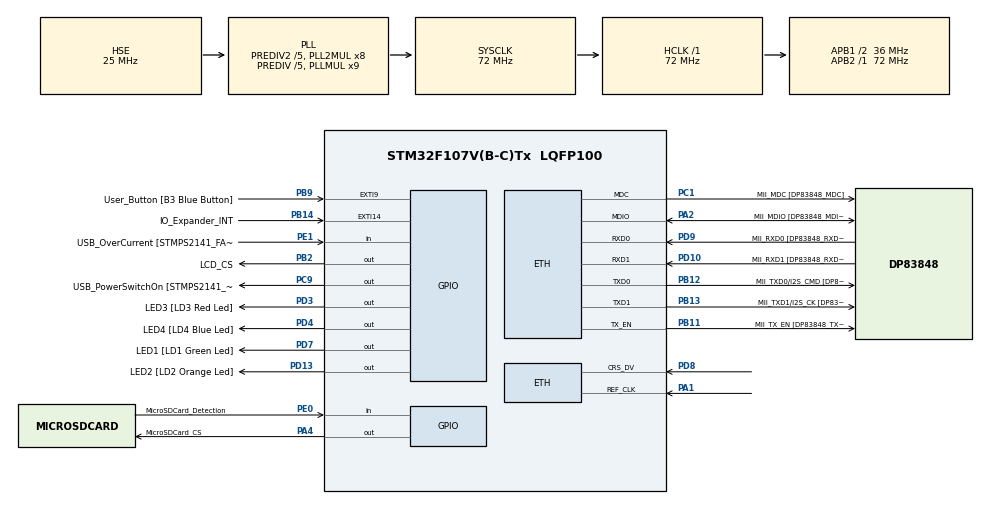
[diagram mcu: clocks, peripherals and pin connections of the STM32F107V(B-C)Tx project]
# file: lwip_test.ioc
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ETH.MediaInterface=ETH_MEDIA_INTERFACE_RMII
LWIP.IP_ADDRESS=192.168.000.077
LWIP.LWIP_DHCP=0
LWIP.NETMASK_ADDRESS=255.255.255.000
Mcu.Family=STM32F1
Mcu.Name=STM32F107V(B-C)Tx
Mcu.Package=LQFP100
NVIC.PriorityGroup=NVIC_PRIORITYGROUP_4
OSC_IN.GPIO_Label=OSC_IN
OSC_IN.Mode=HSE-External-Oscillator
OSC_IN.Signal=RCC_OSC_IN
OSC_OUT.GPIO_Label=OSC_OUT
OSC_OUT.Mode=HSE-External-Oscillator
OSC_OUT.Signal=RCC_OSC_OUT
PA0-WKUP.GPIO_Label=MII_CRS [DP83848_CRS]
PA0-WKUP.GPIO_Mode=GPIO_MODE_AF_PP
PA0-WKUP.GPIO_PuPd=GPIO_NOPULL
PA0-WKUP.GPIO_Speed=GPIO_SPEED_LOW
PA0-WKUP.Signal=ETH_CRS
PA1.Mode=RMII
PA1.Signal=ETH_REF_CLK
PA10.GPIO_Label=USB_ID
PA10.GPIO_Mode=GPIO_MODE_INPUT
PA10.GPIO_PuPd=GPIO_NOPULL
PA10.Signal=USB_OTG_FS_ID
PA11.GPIO_Label=USB_DM
PA11.Signal=USB_OTG_FS_DM
PA12.GPIO_Label=USB_DP
PA12.Signal=USB_OTG_FS_DP
PA13.GPIO_Label=TMS/SWDIO
PA13.Mode=Trace_Synchro_4bits_JTAG
PA13.Signal=SYS_JTMS-SWDIO
PA14.GPIO_Label=TCK/SWCLK
PA14.Mode=Trace_Synchro_4bits_JTAG
PA14.Signal=SYS_JTCK-SWCLK
PA15.GPIO_Label=TDI
PA15.Mode=Trace_Synchro_4bits_JTAG
PA15.Signal=SYS_JTDI
PA2.GPIO_Label=MII_MDIO [DP83848_MDIO]
PA2.GPIO_Mode=GPIO_MODE_AF_PP
PA2.GPIO_PuPd=GPIO_NOPULL
PA2.GPIO_Speed=GPIO_SPEED_LOW
PA2.Mode=RMII
PA2.Signal=ETH_MDIO
PA3.GPIO_Label=MII_COL [DP83848_COL]
PA3.GPIO_Mode=GPIO_MODE_AF_PP
PA3.GPIO_PuPd=GPIO_NOPULL
PA3.GPIO_Speed=GPIO_SPEED_LOW
PA3.Signal=ETH_COL
PA4.GPIO_Label=MicroSDCard_CS
PA4.GPIO_ModeDefaultOutputPP=GPIO_MODE_OUTPUT_PP
PA4.GPIO_PuPd=GPIO_NOPULL
PA4.GPIO_Speed=GPIO_SPEED_LOW
PA4.Signal=GPIO_Output
PA6.GPIO_Label=IDD_Measurement
PA6.GPIO_Mode=GPIO_MODE_ANALOG
PA6.GPIO_PuPd=GPIO_NOPULL
PA6.Signal=ADCx_IN6
PA8.GPIO_Label=MCO [DP83848_X1]
PA8.GPIO_Mode=GPIO_MODE_AF_PP
PA8.GPIO_PuPd=GPIO_NOPULL
PA8.GPIO_Speed=GPIO_SPEED_LOW
PA8.Signal=RCC_MCO
PA9.GPIO_Label=USB_VBUS
PA9.GPIO_Mode=GPIO_MODE_INPUT
PA9.GPIO_PuPd=GPIO_NOPULL
PA9.Signal=USB_OTG_FS_VBUS
PB10.GPIO_Label=MII_RX_ER [DP83848_RX_ER]
PB10.GPIO_Mode=GPIO_MODE_AF_PP
PB10.GPIO_PuPd=GPIO_NOPULL
PB10.GPIO_Speed=GPIO_SPEED_LOW
PB10.Signal=ETH_RX_ER
PB11.GPIO_Label=MII_TX_EN [DP83848_TX_EN]
PB11.GPIO_Mode=GPIO_MODE_AF_PP
PB11.GPIO_PuPd=GPIO_NOPULL
PB11.GPIO_Speed=GPIO_SPEED_LOW
PB11.Mode=RMII
PB11.Signal=ETH_TX_EN
PB12.GPIO_Label=MII_TXD0/I2S_CMD [DP83848_TXD_0/CS43L22_LRCK]
PB12.GPIO_Mode=GPIO_MODE_AF_PP
PB12.GPIO_PuPd=GPIO_NOPULL
PB12.GPIO_Speed=GPIO_SPEED_LOW
PB12.Mode=RMII
PB12.Signal=ETH_TXD0
PB13.GPIO_Label=MII_TXD1/I2S_CK [DP83848_TXD_1/CS43L22_SCLK]
PB13.GPIO_Mode=GPIO_MODE_AF_PP
PB13.GPIO_PuPd=GPIO_NOPULL
PB13.GPIO_Speed=GPIO_SPEED_LOW
PB13.Mode=RMII
PB13.Signal=ETH_TXD1
PB14.GPIO_Label=IO_Expander_INT
PB14.GPIO_ModeDefaultEXTI=GPIO_MODE_EVT_RISING
PB14.GPIO_PuPd=GPIO_PULLUP
PB14.Signal=GPXTI14
PB15.GPIO_Label=I2S_DIN [CS43L22_SDIN]
PB15.GPIO_Mode=GPIO_MODE_AF_PP
PB15.GPIO_PuPd=GPIO_NOPULL
PB15.GPIO_Speed=GPIO_SPEED_LOW
PB15.Signal=I2S2_SD
PB2.GPIO_Label=LCD_CS
PB2.GPIO_ModeDefaultOutputPP=GPIO_MODE_OUTPUT_PP
PB2.GPIO_PuPd=GPIO_NOPULL
PB2.GPIO_Speed=GPIO_SPEED_LOW
PB2.Signal=GPIO_Output
PB3.GPIO_Label=TDO
PB3.Mode=Trace_Synchro_4bits_JTAG
PB3.Signal=SYS_JTDO
PB6.GPIO_Label=I2C1_SCK [STMPE811_SCLK]
PB6.GPIO_Mode=GPIO_MODE_AF_OD
PB6.GPIO_PuPdOD=GPIO_PULLUP
PB6.GPIO_Speed=GPIO_SPEED_LOW
PB6.Signal=I2C1_SCL
PB7.GPIO_Label=I2C1_SDA [STMPE811_SDA]
PB7.GPIO_Mode=GPIO_MODE_AF_OD
PB7.GPIO_PuPdOD=GPIO_PULLUP
PB7.GPIO_Speed=GPIO_SPEED_LOW
PB7.Signal=I2C1_SDA
PB8.GPIO_Label=MII_TXD3 [DP83848_TXD_3]
PB8.GPIO_Mode=GPIO_MODE_AF_PP
PB8.GPIO_PuPd=GPIO_NOPULL
PB8.GPIO_Speed=GPIO_SPEED_LOW
PB8.Signal=ETH_TXD3
PB9.GPIO_Label=User_Button [B3 Blue Button]
PB9.GPIO_ModeDefaultEXTI=GPIO_MODE_EVT_RISING
PB9.GPIO_PuPd=GPIO_NOPULL
PB9.Signal=GPXTI9
PC1.GPIO_Label=MII_MDC [DP83848_MDC]
PC1.GPIO_Mode=GPIO_MODE_AF_PP
PC1.GPIO_PuPd=GPIO_NOPULL
PC1.GPIO_Speed=GPIO_SPEED_LOW
PC1.Mode=RMII
PC1.Signal=ETH_MDC
PC10.GPIO_Label=SPI3_SCK [LCD_SCL]
PC10.GPIO_Mode=GPIO_MODE_AF_PP
PC10.GPIO_PuPd=GPIO_NOPULL
PC10.GPIO_Speed=GPIO_SPEED_LOW
PC10.Signal=SPI3_SCK
PC11.GPIO_Label=SPI3_MISO [LCD_SDO]
PC11.GPIO_Mode=GPIO_MODE_INPUT
PC11.GPIO_PuPd=GPIO_NOPULL
PC11.Signal=SPI3_MISO
PC12.GPIO_Label=SPI3_MOSI [LCD_SDI]
PC12.GPIO_Mode=GPIO_MODE_AF_PP
PC12.GPIO_PuPd=GPIO_NOPULL
PC12.GPIO_Speed=GPIO_SPEED_LOW
PC12.Signal=SPI3_MOSI
PC13-TAMPER-RTC.GPIO_Label=Anti_Tamper [B4 Blue Button]
PC13-TAMPER-RTC.Signal=RTC_TAMPER
PC14-OSC32_IN.GPIO_Label=PC14-OSC32_IN
PC14-OSC32_IN.Mode=LSE-External-Oscillator
PC14-OSC32_IN.Signal=RCC_OSC32_IN
PC15-OSC32_OUT.GPIO_Label=PC15-OSC32_OUT
PC15-OSC32_OUT.Mode=LSE-External-Oscillator
PC15-OSC32_OUT.Signal=RCC_OSC32_OUT
PC2.GPIO_Label=MII_TXD2 [DP83848_TXD_2]
PC2.GPIO_Mode=GPIO_MODE_AF_PP
PC2.GPIO_PuPd=GPIO_NOPULL
PC2.GPIO_Speed=GPIO_SPEED_LOW
PC2.Signal=ETH_TXD2
PC3.GPIO_Label=MII_TX_CLK [DP83848_TX_CLK]
PC3.GPIO_Mode=GPIO_MODE_AF_PP
PC3.GPIO_PuPd=GPIO_NOPULL
PC3.GPIO_Speed=GPIO_SPEED_LOW
PC3.Signal=ETH_TX_CLK
PC4.GPIO_Label=Potentiometer [RV1]
PC4.GPIO_Mode=GPIO_MODE_ANALOG
PC4.GPIO_PuPd=GPIO_NOPULL
PC4.Signal=ADCx_IN14
PC5.GPIO_Label=VBAT_Voltage_OUT
PC5.GPIO_Mode=GPIO_MODE_ANALOG
PC5.GPIO_PuPd=GPIO_NOPULL
PC5.Signal=ADCx_IN15
PC6.GPIO_Label=I2S_MCK [CS43L22_MCLK]
PC6.GPIO_Mode=GPIO_MODE_AF_PP
PC6.GPIO_PuPd=GPIO_NOPULL
PC6.GPIO_Speed=GPIO_SPEED_LOW
PC6.Signal=I2S2_MCK
PC9.GPIO_Label=USB_PowerSwitchOn [STMPS2141_EN]
PC9.GPIO_ModeDefaultOutputPP=GPIO_MODE_OUTPUT_PP
PC9.GPIO_PuPd=GPIO_NOPULL
PC9.GPIO_Speed=GPIO_SPEED_LOW
PC9.Signal=GPIO_Output
PD0.GPIO_Label=CAN1_RX [SN65HVD230_R]
PD0.GPIO_Mode=GPIO_MODE_AF_PP
PD0.GPIO_PuPd=GPIO_NOPULL
PD0.GPIO_Speed=GPIO_SPEED_LOW
PD0.Signal=CAN1_RX
PD1.GPIO_Label=CAN1_TX [SN65HVD230_D]
PD1.GPIO_Mode=GPIO_MODE_AF_PP
PD1.GPIO_PuPd=GPIO_NOPULL
PD1.GPIO_Speed=GPIO_SPEED_LOW
PD1.Signal=CAN1_TX
PD10.GPIO_Label=MII_RXD1 [DP83848_RXD_1]
PD10.GPIO_Mode=GPIO_MODE_AF_PP
PD10.GPIO_PuPd=GPIO_NOPULL
PD10.GPIO_Speed=GPIO_SPEED_LOW
PD10.Mode=RMII
PD10.Signal=ETH_RXD1
PD11.GPIO_Label=MII_RXD2 [DP83848_RXD_2]
PD11.GPIO_Mode=GPIO_MODE_AF_PP
PD11.GPIO_PuPd=GPIO_NOPULL
PD11.GPIO_Speed=GPIO_SPEED_LOW
PD11.Signal=ETH_RXD2
PD12.GPIO_Label=MII_RXD3 [DP83848_RXD_3]
PD12.GPIO_Mode=GPIO_MODE_AF_PP
PD12.GPIO_PuPd=GPIO_NOPULL
PD12.GPIO_Speed=GPIO_SPEED_LOW
PD12.Signal=ETH_RXD3
PD13.GPIO_Label=LED2 [LD2 Orange Led]
PD13.GPIO_ModeDefaultOutputPP=GPIO_MODE_OUTPUT_PP
PD13.GPIO_PuPd=GPIO_NOPULL
PD13.GPIO_Speed=GPIO_SPEED_LOW
PD13.Signal=GPIO_Output
PD3.GPIO_Label=LED3 [LD3 Red Led]
PD3.GPIO_ModeDefaultOutputPP=GPIO_MODE_OUTPUT_PP
PD3.GPIO_PuPd=GPIO_NOPULL
PD3.GPIO_Speed=GPIO_SPEED_LOW
PD3.Signal=GPIO_Output
PD4.GPIO_Label=LED4 [LD4 Blue Led]
PD4.GPIO_ModeDefaultOutputPP=GPIO_MODE_OUTPUT_PP
PD4.GPIO_PuPd=GPIO_NOPULL
PD4.GPIO_Speed=GPIO_SPEED_LOW
PD4.Signal=GPIO_Output
PD5.GPIO_Label=USART2_TX [ST3241E_T2IN]
PD5.GPIO_Mode=GPIO_MODE_AF_PP
PD5.GPIO_PuPd=GPIO_PULLUP
PD5.GPIO_Speed=GPIO_SPEED_LOW
PD5.Signal=USART2_TX
PD6.GPIO_Label=USART2_RX [ST3241EB_R3OUT]
PD6.GPIO_Mode=GPIO_MODE_AF_PP
PD6.GPIO_PuPd=GPIO_PULLUP
PD6.GPIO_Speed=GPIO_SPEED_LOW
PD6.Signal=USART2_RX
PD7.GPIO_Label=LED1 [LD1 Green Led]
PD7.GPIO_ModeDefaultOutputPP=GPIO_MODE_OUTPUT_PP
PD7.GPIO_PuPd=GPIO_NOPULL
PD7.GPIO_Speed=GPIO_SPEED_LOW
PD7.Signal=GPIO_Output
PD8.Mode=RMII
PD8.Signal=ETH_CRS_DV
PD9.GPIO_Label=MII_RXD0 [DP83848_RXD_0]
PD9.GPIO_Mode=GPIO_MODE_AF_PP
PD9.GPIO_PuPd=GPIO_NOPULL
PD9.GPIO_Speed=GPIO_SPEED_LOW
PD9.Mode=RMII
PD9.Signal=ETH_RXD0
PE0.GPIO_Label=MicroSDCard_Detection
PE0.GPIO_Mode=GPIO_MODE_INPUT
PE0.GPIO_PuPd=GPIO_PULLUP
PE0.Signal=GPIO_Input
PE1.GPIO_Label=USB_OverCurrent [STMPS2141_FAULT]
PE1.GPIO_Mode=GPIO_MODE_INPUT
PE1.GPIO_PuPd=GPIO_NOPULL
PE1.Signal=GPIO_Input
PE2.GPIO_Label=TRACE_CK
PE2.Mode=Trace_Synchro_4bits_JTAG
PE2.Signal=SYS_TRACECLK
PE3.GPIO_Label=TRACE_D0
PE3.Mode=Trace_Synchro_4bits_JTAG
PE3.Signal=SYS_TRACED0
PE4.GPIO_Label=TRACE_D1
PE4.Mode=Trace_Synchro_4bits_JTAG
PE4.Signal=SYS_TRACED1
PE5.GPIO_Label=TRACE_D2
PE5.Mode=Trace_Synchro_4bits_JTAG
PE5.Signal=SYS_TRACED2
PE6.GPIO_Label=TRACE_D3
PE6.Mode=Trace_Synchro_4bits_JTAG
PE6.Signal=SYS_TRACED3
ProjectManager.TargetToolchain=SW4STM32
RCC.ADCPresc=RCC_ADCPCLK2_DIV6
RCC.AHBFreq_Value=72000000
RCC.APB1CLKDivider=RCC_HCLK_DIV2
RCC.APB1Freq_Value=36000000
RCC.APB1TimFreq_Value=72000000
RCC.APB2Freq_Value=72000000
RCC.APB2TimFreq_Value=72000000
RCC.HCLKFreq_Value=72000000
RCC.HSEDivPLL=RCC_HSE_PREDIV_DIV5
RCC.HSE_VALUE=25000000
RCC.HSIState=RCC_HSI_ON
RCC.PLLMUL=RCC_PLL_MUL9
RCC.PLLSourceVirtual=RCC_PLLSOURCE_HSE
RCC.Prediv1Source=RCC_PREDIV1_SOURCE_PLL2
RCC.Prediv2=RCC_HSE_PREDIV2_DIV5
RCC.RCC_MCOSource=RCC_MCO1SOURCE_HSE
RCC.RTCClockSelection=RCC_RTCCLKSOURCE_LSE
RCC.SYSCLKFreq_VALUE=72000000
RCC.SYSCLKSource=RCC_SYSCLKSOURCE_PLLCLK
RCC.USBFreq_Value=48000000
SH.ADCx_IN14.0=ADC1_IN14
SH.ADCx_IN15.0=ADC1_IN15
SH.ADCx_IN6.0=ADC1_IN6
VP_LWIP_VS_Enabled.Mode=Enabled
board=STM3210C-EVAL

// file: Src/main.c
/**
  ******************************************************************************
  * File Name          : main.c
  * Description        : Main program body
  ******************************************************************************
  *
  * COPYRIGHT(c) 2015 STMicroelectronics
  *
  * Redistribution and use in source and binary forms, with or without modification,
  * are permitted provided that the following conditions are met:
  *   1. Redistributions of source code must retain the above copyright notice,
  *      this list of conditions and the following disclaimer.
  *   2. Redistributions in binary form must reproduce the above copyright notice,
  *      this list of conditions and the following disclaimer in the documentation
  *      and/or other materials provided with the distribution.
  *   3. Neither the name of STMicroelectronics nor the names of its contributors
  *      may be used to endorse or promote products derived from this software
  *      without specific prior written permission.
  *
  * THIS SOFTWARE IS PROVIDED BY THE COPYRIGHT HOLDERS AND CONTRIBUTORS "AS IS"
  * AND ANY EXPRESS OR IMPLIED WARRANTIES, INCLUDING, BUT NOT LIMITED TO, THE
  * IMPLIED WARRANTIES OF MERCHANTABILITY AND FITNESS FOR A PARTICULAR PURPOSE ARE
  * DISCLAIMED. IN NO EVENT SHALL THE COPYRIGHT HOLDER OR CONTRIBUTORS BE LIABLE
  * FOR ANY DIRECT, INDIRECT, INCIDENTAL, SPECIAL, EXEMPLARY, OR CONSEQUENTIAL
  * DAMAGES (INCLUDING, BUT NOT LIMITED TO, PROCUREMENT OF SUBSTITUTE GOODS OR
  * SERVICES; LOSS OF USE, DATA, OR PROFITS; OR BUSINESS INTERRUPTION) HOWEVER
  * CAUSED AND ON ANY THEORY OF LIABILITY, WHETHER IN CONTRACT, STRICT LIABILITY,
  * OR TORT (INCLUDING NEGLIGENCE OR OTHERWISE) ARISING IN ANY WAY OUT OF THE USE
  * OF THIS SOFTWARE, EVEN IF ADVISED OF THE POSSIBILITY OF SUCH DAMAGE.
  *
  ******************************************************************************
  */
#include "stm32f1xx_hal.h"
#include "lwip.h"

/* USER CODE BEGIN Includes */
#include "udp.h"
#include "3dunit/mavlink.h"
/* USER CODE END Includes */

/* USER CODE BEGIN PV */
/* Private variables ---------------------------------------------------------*/

/* USER CODE END PV */

void SystemClock_Config(void);
static void MX_GPIO_Init(void);

/* USER CODE BEGIN PFP */
/* Private function prototypes -----------------------------------------------*/

/* USER CODE END PFP */

/* USER CODE BEGIN 0 */

extern uint8_t bSendUDP;
extern uint8_t bLEDBreathing;
extern uint64_t iMilisecs;
uint8_t mavlink_systemID = 1;
uint16_t mavlink_port = 14550;
uint8_t mavlink_getParams = 0x00;
struct ip_addr destAddr;
struct udp_pcb* my_udp_pcb;
void udp_receive_callback(void *arg, struct udp_pcb *upcb, struct pbuf *p, struct ip_addr *addr, u16_t port);

void send_udp_simple(uint8_t *payload, uint16_t length)
{
	struct pbuf *p = pbuf_alloc(PBUF_TRANSPORT, length, PBUF_RAM);
    memcpy(p->payload, payload, length);
    udp_sendto(my_udp_pcb, p, &destAddr, mavlink_port);
	pbuf_free(p);
}

/* USER CODE END 0 */

int main(void)
{

  /* MCU Configuration----------------------------------------------------------*/

  /* Reset of all peripherals, Initializes the Flash interface and the Systick. */
  HAL_Init();

  /* Configure the system clock */
  SystemClock_Config();

  /* Initialize all configured peripherals */
  MX_GPIO_Init();
  MX_LWIP_Init();

  /* Infinite loop */
  /* USER CODE BEGIN WHILE */

  int i =0;
  int j =0;
  IP4_ADDR(&destAddr, 192, 168, 0, 100);
  my_udp_pcb =  udp_new();

  udp_bind(my_udp_pcb, IP_ADDR_ANY, mavlink_port);
  udp_recv(my_udp_pcb, udp_receive_callback, NULL);
  while (1)
  {

  /* USER CODE END WHILE */
	  MX_LWIP_Process();
	  if (bSendUDP == 0xff)
	  {
		  bSendUDP = 0x00;

		  // produce mavlink heartbeat
		  mavlink_heartbeat_t heart_beat;
		  heart_beat.type = MAV_TYPE_GENERIC;
		  heart_beat.autopilot = MAV_AUTOPILOT_GENERIC;
		  heart_beat.base_mode = MAV_MODE_FLAG_TEST_ENABLED;
		  heart_beat.system_status = MAV_STATE_ACTIVE;
		  heart_beat.mavlink_version = 3;
		  mavlink_message_t message;
		  mavlink_msg_heartbeat_encode(mavlink_systemID,0,&message, &heart_beat);
		  uint8_t buffer[200];
		  uint16_t len = mavlink_msg_to_send_buffer(buffer, &message);
		  send_udp_simple(buffer, len);
		  //struct pbuf *p = pbuf_alloc(PBUF_TRANSPORT, len, PBUF_RAM);
		  //memcpy(p->payload, buffer, len);
		  //udp_sendto(my_udp_pcb, p, &destAddr, mavlink_port);
		  //pbuf_free(p);

		  mavlink_named_value_int_t v1;
		  char name[10]="encoder";
		  memcpy((char*)v1.name, name, 10);
		  v1.time_boot_ms = iMilisecs;
		  v1.value =100;
		  mavlink_msg_named_value_int_encode(mavlink_systemID, 0 ,&message, &v1  );
		  len = mavlink_msg_to_send_buffer(buffer, &message);
		  send_udp_simple(buffer, len);

		  if (mavlink_getParams == 0xff)
		  {
			  mavlink_getParams = 0x00;
			  // give client parameters list
			  {

				  uint16_t IP_1=192;
				  mavlink_param_value_t param;
				  param.param_count = 4;
				  strncpy(param.param_id, "DST_IP_1", 16);
				  param.param_index =0;
				  param.param_type = MAV_PARAM_TYPE_INT16;
				  mavlink_param_union_t t;
				  t.param_int16 = IP_1;
				  param.param_value = t.param_float;
				  mavlink_message_t message;
				  mavlink_msg_param_value_encode(mavlink_systemID,0, &message, &param);
				  len = mavlink_msg_to_send_buffer(buffer, &message);
				  send_udp_simple(buffer, len);
			  }
			  {
					  uint16_t IP_2 =168;
					  mavlink_param_value_t param;
					  param.param_count = 1;
					  strncpy(param.param_id, "DST_IP_2", 16);
					  param.param_index =1;
					  param.param_type = MAV_PARAM_TYPE_INT16;
					  mavlink_param_union_t t;
					  t.param_int16 = IP_2;
					  param.param_value = t.param_float;
					  mavlink_message_t message;
					  mavlink_msg_param_value_encode(mavlink_systemID,0, &message, &param);
					  len = mavlink_msg_to_send_buffer(buffer, &message);
					  send_udp_simple(buffer, len);
			  }
			  {
					  uint16_t IP_3 =0;
					  mavlink_param_value_t param;
					  param.param_count = 4;
					  strncpy(param.param_id, "DST_IP_3", 16);
					  param.param_index =2;
					  param.param_type = MAV_PARAM_TYPE_INT16;
					  mavlink_param_union_t t;
					  t.param_int16 = IP_3;
					  param.param_value = t.param_float;
					  mavlink_message_t message;
					  mavlink_msg_param_value_encode(mavlink_systemID,0, &message, &param);
					  len = mavlink_msg_to_send_buffer(buffer, &message);
					  send_udp_simple(buffer, len);

				}

			  	{
					  uint16_t IP_4 =0;
					  mavlink_param_value_t param;
					  param.param_count = 4;
					  strncpy(param.param_id, "DST_IP_4", 16);
					  param.param_index =3;
					  param.param_type = MAV_PARAM_TYPE_INT16;
					  mavlink_param_union_t t;
					  t.param_int16 = IP_4;
					  param.param_value = t.param_float;
					  mavlink_message_t message;
					  mavlink_msg_param_value_encode(mavlink_systemID,0, &message, &param);
					  len = mavlink_msg_to_send_buffer(buffer, &message);
					  send_udp_simple(buffer, len);

			  	}

		  }

	  }
	  if (bLEDBreathing == 0xff)
	  {
		  bLEDBreathing = 0x00;

	  }

  }

}

/** System Clock Configuration
*/
void SystemClock_Config(void)
{

  RCC_OscInitTypeDef RCC_OscInitStruct;
  RCC_ClkInitTypeDef RCC_ClkInitStruct;

  RCC_OscInitStruct.OscillatorType = RCC_OSCILLATORTYPE_HSE;
  RCC_OscInitStruct.HSEState = RCC_HSE_ON;
  RCC_OscInitStruct.HSEPredivValue = RCC_HSE_PREDIV_DIV5;
  RCC_OscInitStruct.Prediv1Source = RCC_PREDIV1_SOURCE_PLL2;
  RCC_OscInitStruct.PLL.PLLState = RCC_PLL_ON;
  RCC_OscInitStruct.PLL.PLLSource = RCC_PLLSOURCE_HSE;
  RCC_OscInitStruct.PLL.PLLMUL = RCC_PLL_MUL9;
  RCC_OscInitStruct.PLL2.PLL2State = RCC_PLL2_ON;
  RCC_OscInitStruct.PLL2.PLL2MUL = RCC_PLL2_MUL8;
  RCC_OscInitStruct.PLL2.HSEPrediv2Value = RCC_HSE_PREDIV2_DIV5;
  HAL_RCC_OscConfig(&RCC_OscInitStruct);

  RCC_ClkInitStruct.ClockType = RCC_CLOCKTYPE_SYSCLK|RCC_CLOCKTYPE_PCLK1;
  RCC_ClkInitStruct.SYSCLKSource = RCC_SYSCLKSOURCE_PLLCLK;
  RCC_ClkInitStruct.AHBCLKDivider = RCC_SYSCLK_DIV1;
  RCC_ClkInitStruct.APB1CLKDivider = RCC_HCLK_DIV2;
  RCC_ClkInitStruct.APB2CLKDivider = RCC_HCLK_DIV1;
  HAL_RCC_ClockConfig(&RCC_ClkInitStruct, FLASH_LATENCY_2);

  HAL_SYSTICK_Config(HAL_RCC_GetHCLKFreq()/1000);

  HAL_SYSTICK_CLKSourceConfig(SYSTICK_CLKSOURCE_HCLK);

  __HAL_RCC_PLLI2S_ENABLE();

  /* SysTick_IRQn interrupt configuration */
  HAL_NVIC_SetPriority(SysTick_IRQn, 0, 0);
}

/** Configure pins as
        * Analog
        * Input
        * Output
        * EVENT_OUT
        * EXTI
     PA6   ------> ADCx_IN6
     PC4   ------> ADCx_IN14
     PC5   ------> ADCx_IN15
     PB15   ------> I2S2_SD
     PC6   ------> I2S2_MCK
     PA8   ------> RCC_MCO
     PA9   ------> USB_OTG_FS_VBUS
     PA10   ------> USB_OTG_FS_ID
     PC10   ------> SPI3_SCK
     PC11   ------> SPI3_MISO
     PC12   ------> SPI3_MOSI
     PD0   ------> CAN1_RX
     PD1   ------> CAN1_TX
     PD5   ------> USART2_TX
     PD6   ------> USART2_RX
     PB6   ------> I2C1_SCL
     PB7   ------> I2C1_SDA
*/
void MX_GPIO_Init(void)
{

  GPIO_InitTypeDef GPIO_InitStruct;

  /* GPIO Ports Clock Enable */
  __HAL_RCC_GPIOE_CLK_ENABLE();
  __HAL_RCC_GPIOC_CLK_ENABLE();
  __HAL_RCC_GPIOA_CLK_ENABLE();
  __HAL_RCC_GPIOB_CLK_ENABLE();
  __HAL_RCC_GPIOD_CLK_ENABLE();

  /*Configure GPIO pin : MicroSDCard_CS_Pin */
  GPIO_InitStruct.Pin = MicroSDCard_CS_Pin;
  GPIO_InitStruct.Mode = GPIO_MODE_OUTPUT_PP;
  GPIO_InitStruct.Speed = GPIO_SPEED_LOW;
  HAL_GPIO_Init(MicroSDCard_CS_GPIO_Port, &GPIO_InitStruct);

  /*Configure GPIO pin : IDD_Measurement_Pin */
  GPIO_InitStruct.Pin = IDD_Measurement_Pin;
  GPIO_InitStruct.Mode = GPIO_MODE_ANALOG;
  HAL_GPIO_Init(IDD_Measurement_GPIO_Port, &GPIO_InitStruct);

  /*Configure GPIO pins : Potentiometer_Pin VBAT_Voltage_OUT_Pin */
  GPIO_InitStruct.Pin = Potentiometer_Pin|VBAT_Voltage_OUT_Pin;
  GPIO_InitStruct.Mode = GPIO_MODE_ANALOG;
  HAL_GPIO_Init(GPIOC, &GPIO_InitStruct);

  /*Configure GPIO pin : LCD_CS_Pin */
  GPIO_InitStruct.Pin = LCD_CS_Pin;
  GPIO_InitStruct.Mode = GPIO_MODE_OUTPUT_PP;
  GPIO_InitStruct.Speed = GPIO_SPEED_LOW;
  HAL_GPIO_Init(LCD_CS_GPIO_Port, &GPIO_InitStruct);

  /*Configure GPIO pin : IO_Expander_INT_Pin */
  GPIO_InitStruct.Pin = IO_Expander_INT_Pin;
  GPIO_InitStruct.Mode = GPIO_MODE_EVT_RISING;
  GPIO_InitStruct.Pull = GPIO_PULLUP;
  HAL_GPIO_Init(IO_Expander_INT_GPIO_Port, &GPIO_InitStruct);

  /*Configure GPIO pin : I2S_DIN_Pin */
  GPIO_InitStruct.Pin = I2S_DIN_Pin;
  GPIO_InitStruct.Mode = GPIO_MODE_AF_PP;
  GPIO_InitStruct.Speed = GPIO_SPEED_LOW;
  HAL_GPIO_Init(I2S_DIN_GPIO_Port, &GPIO_InitStruct);

  /*Configure GPIO pins : LED2_Pin LED3_Pin LED4_Pin LED1_Pin */
  GPIO_InitStruct.Pin = LED2_Pin|LED3_Pin|LED4_Pin|LED1_Pin;
  GPIO_InitStruct.Mode = GPIO_MODE_OUTPUT_PP;
  GPIO_InitStruct.Speed = GPIO_SPEED_LOW;
  HAL_GPIO_Init(GPIOD, &GPIO_InitStruct);

  /*Configure GPIO pins : I2S_MCK_Pin PC10 PC12 */
  GPIO_InitStruct.Pin = I2S_MCK_Pin|GPIO_PIN_10|GPIO_PIN_12;
  GPIO_InitStruct.Mode = GPIO_MODE_AF_PP;
  GPIO_InitStruct.Speed = GPIO_SPEED_LOW;
  HAL_GPIO_Init(GPIOC, &GPIO_InitStruct);

  /*Configure GPIO pin : USB_PowerSwitchOn_Pin */
  GPIO_InitStruct.Pin = USB_PowerSwitchOn_Pin;
  GPIO_InitStruct.Mode = GPIO_MODE_OUTPUT_PP;
  GPIO_InitStruct.Speed = GPIO_SPEED_LOW;
  HAL_GPIO_Init(USB_PowerSwitchOn_GPIO_Port, &GPIO_InitStruct);

  /*Configure GPIO pin : MCO_Pin */
  GPIO_InitStruct.Pin = MCO_Pin;
  GPIO_InitStruct.Mode = GPIO_MODE_AF_PP;
  GPIO_InitStruct.Speed = GPIO_SPEED_LOW;
  HAL_GPIO_Init(MCO_GPIO_Port, &GPIO_InitStruct);

  /*Configure GPIO pins : USB_VBUS_Pin USB_ID_Pin */
  GPIO_InitStruct.Pin = USB_VBUS_Pin|USB_ID_Pin;
  GPIO_InitStruct.Mode = GPIO_MODE_INPUT;
  GPIO_InitStruct.Pull = GPIO_NOPULL;
  HAL_GPIO_Init(GPIOA, &GPIO_InitStruct);

  /*Configure GPIO pin : PC11 */
  GPIO_InitStruct.Pin = GPIO_PIN_11;
  GPIO_InitStruct.Mode = GPIO_MODE_INPUT;
  HAL_GPIO_Init(GPIOC, &GPIO_InitStruct);

  /*Configure GPIO pins : PD0 PD1 */
  GPIO_InitStruct.Pin = GPIO_PIN_0|GPIO_PIN_1;
  GPIO_InitStruct.Mode = GPIO_MODE_AF_PP;
  GPIO_InitStruct.Pull = GPIO_NOPULL;
  HAL_GPIO_Init(GPIOD, &GPIO_InitStruct);

  /*Configure GPIO pins : PD5 PD6 */
  GPIO_InitStruct.Pin = GPIO_PIN_5|GPIO_PIN_6;
  GPIO_InitStruct.Mode = GPIO_MODE_AF_PP;
  GPIO_InitStruct.Speed = GPIO_SPEED_LOW;
  HAL_GPIO_Init(GPIOD, &GPIO_InitStruct);

  /*Configure GPIO pins : I2C1_SCK_Pin PB7 */
  GPIO_InitStruct.Pin = I2C1_SCK_Pin|GPIO_PIN_7;
  GPIO_InitStruct.Mode = GPIO_MODE_AF_OD;
  GPIO_InitStruct.Speed = GPIO_SPEED_LOW;
  HAL_GPIO_Init(GPIOB, &GPIO_InitStruct);

  /*Configure GPIO pin : User_Button_Pin */
  GPIO_InitStruct.Pin = User_Button_Pin;
  GPIO_InitStruct.Mode = GPIO_MODE_EVT_RISING;
  GPIO_InitStruct.Pull = GPIO_NOPULL;
  HAL_GPIO_Init(User_Button_GPIO_Port, &GPIO_InitStruct);

  /*Configure GPIO pin : MicroSDCard_Detection_Pin */
  GPIO_InitStruct.Pin = MicroSDCard_Detection_Pin;
  GPIO_InitStruct.Mode = GPIO_MODE_INPUT;
  GPIO_InitStruct.Pull = GPIO_PULLUP;
  HAL_GPIO_Init(MicroSDCard_Detection_GPIO_Port, &GPIO_InitStruct);

  /*Configure GPIO pin : USB_OverCurrent_Pin */
  GPIO_InitStruct.Pin = USB_OverCurrent_Pin;
  GPIO_InitStruct.Mode = GPIO_MODE_INPUT;
  GPIO_InitStruct.Pull = GPIO_NOPULL;
  HAL_GPIO_Init(USB_OverCurrent_GPIO_Port, &GPIO_InitStruct);

  /*Configure peripheral I/O remapping */
  __HAL_AFIO_REMAP_SPI3_ENABLE();

  /*Configure peripheral I/O remapping */
  __HAL_AFIO_REMAP_CAN1_3();

  /*Configure peripheral I/O remapping */
  __HAL_AFIO_REMAP_USART2_ENABLE();

}

/* USER CODE BEGIN 4 */
mavlink_message_t message;
mavlink_status_t status;
void udp_receive_callback(void *arg, struct udp_pcb *upcb, struct pbuf *p, struct ip_addr *addr, u16_t port)
{

	struct pbuf *my_p = p;
	do
	{
		char* data = (char*)my_p->payload;
		int i;
		for ( i =0; i < my_p->len; i++)
		{
			if (mavlink_parse_char(1, data[i], &message, &status))
			{
				uint8_t sysid = message.sysid;
				uint8_t compid = message.compid;
				uint8_t system_id = message.sysid;
				uint8_t autopilot_id = message.compid;
				if (message.msgid == MAVLINK_MSG_ID_HEARTBEAT)
				{
					HAL_GPIO_TogglePin(LED1_GPIO_Port, LED1_Pin);
				}
				else
				if (message.msgid == 21)
				{
					mavlink_getParams = 0xff;
				}
			}
		}
		my_p = my_p->next;
	}
	while (my_p != NULL);

	/* Free the p buffer */
	pbuf_free(p);

}

/* USER CODE END 4 */

/************************ (C) COPYRIGHT STMicroelectronics *****END OF FILE****/
